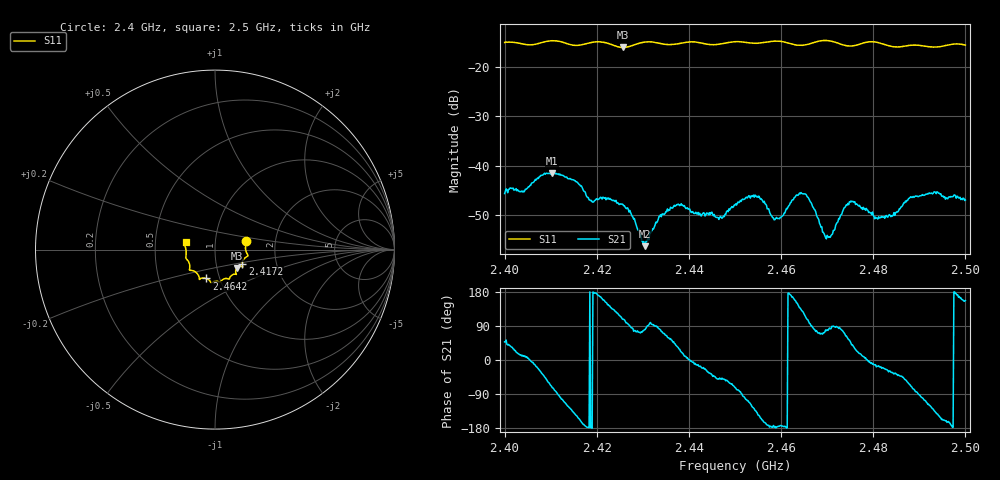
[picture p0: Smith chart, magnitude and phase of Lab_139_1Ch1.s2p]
# Hz S RI R 50
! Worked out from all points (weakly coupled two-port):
!   601 points, 2.4 GHz to 2.5 GHz, reference 50 ohm
!   highest |S21| = -41.52 dB at 2.4103 GHz (marker M1); lowest = -56.4 dB at 2.4305 GHz (marker M2)
!   lowest |S11| = -15.9 dB at 2.4257 GHz (marker M3), VSWR 1.38, Z = 62.4 - j13.1 ohm
!   |S11| at or under -10 dB: start of sweep to end of sweep
!   S12 and S22 are empty: the file has one direction only
!   S11 on the Smith chart (normalised r, x): 2.4 GHz: 1.41, +0.14; 2.4172 GHz: 1.34, -0.22; 2.4642 GHz: 0.86, -0.29; 2.5 GHz: 0.72, +0.06
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2.4e9  0.1727 0.0497  0.00348 0.00383  0 0  0 0
2.403833e9  0.172 0.0267  0.00525 0.00116  0 0  0 0
2.410333e9  0.1843 -0.0333  0.00244 -0.00803  0 0  0 0
2.416667e9  0.1524 -0.0749  -0.00595 -0.00174  0 0  0 0
2.417167e9  0.152 -0.0805  -0.00542 -0.00096  0 0  0 0
2.418833e9  0.1535 -0.0942  -0.0044 -0.000159  0 0  0 0
2.425667e9  0.1225 -0.1025  -0.00119 0.00383  0 0  0 0
2.4305e9  0.1185 -0.1373  0.000247 0.00149  0 0  0 0
2.433333e9  0.1127 -0.1367  0.000302 0.00281  0 0  0 0
2.437333e9  0.0853 -0.1508  0.00319 0.0024  0 0  0 0
2.446833e9  0.0414 -0.1683  0.00196 -0.0023  0 0  0 0
2.45e9  0.0294 -0.1806  0.00119 -0.00378  0 0  0 0
2.454833e9  0.00318 -0.1763  -0.0037 -0.00312  0 0  0 0
2.459e9  -0.0219 -0.1843  -0.00295 -0.000184  0 0  0 0
2.464167e9  -0.0481 -0.1609  -0.00375 0.00351  0 0  0 0
2.466667e9  -0.0762 -0.1595  1.62e-05 0.00403  0 0  0 0
2.470167e9  -0.0872 -0.166  0.000388 0.00184  0 0  0 0
2.475333e9  -0.1098 -0.1237  0.00328 0.00273  0 0  0 0
2.4805e9  -0.1429 -0.1119  0.00291 -0.000636  0 0  0 0
2.483333e9  -0.1404 -0.0895  0.00265 -0.00161  0 0  0 0
2.488667e9  -0.162 -0.0478  0.00114 -0.00471  0 0  0 0
2.5e9  -0.1637 0.0419  -0.0041 0.00174  0 0  0 0
